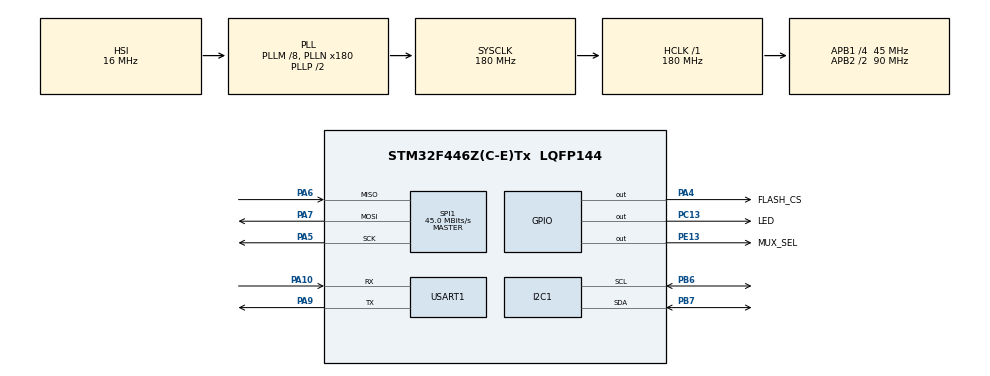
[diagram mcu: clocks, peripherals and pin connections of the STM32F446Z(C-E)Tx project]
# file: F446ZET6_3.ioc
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Mcu.Family=STM32F4
Mcu.Name=STM32F446Z(C-E)Tx
Mcu.Package=LQFP144
NVIC.PriorityGroup=NVIC_PRIORITYGROUP_4
PA10.Mode=Asynchronous
PA10.Signal=USART1_RX
PA13.Mode=Serial_Wire
PA13.Signal=SYS_JTMS-SWDIO
PA14.Mode=Serial_Wire
PA14.Signal=SYS_JTCK-SWCLK
PA4.GPIO_Label=FLASH_CS
PA4.Signal=GPIO_Output
PA5.Mode=Full_Duplex_Master
PA5.Signal=SPI1_SCK
PA6.Mode=Full_Duplex_Master
PA6.Signal=SPI1_MISO
PA7.Mode=Full_Duplex_Master
PA7.Signal=SPI1_MOSI
PA9.Mode=Asynchronous
PA9.Signal=USART1_TX
PB6.Mode=I2C
PB6.Signal=I2C1_SCL
PB7.Mode=I2C
PB7.Signal=I2C1_SDA
PC13.GPIO_Label=LED
PC13.Signal=GPIO_Output
PE13.GPIO_Label=MUX_SEL
PE13.Signal=GPIO_Output
ProjectManager.HeapSize=0x200
ProjectManager.StackSize=0x400
ProjectManager.TargetToolchain=STM32CubeIDE
RCC.AHBFreq_Value=180000000
RCC.APB1CLKDivider=RCC_HCLK_DIV4
RCC.APB1Freq_Value=45000000
RCC.APB1TimFreq_Value=90000000
RCC.APB2CLKDivider=RCC_HCLK_DIV2
RCC.APB2Freq_Value=90000000
RCC.APB2TimFreq_Value=180000000
RCC.CortexFreq_Value=180000000
RCC.HCLKFreq_Value=180000000
RCC.PLLM=8
RCC.PLLN=180
RCC.SYSCLKFreq_VALUE=180000000
RCC.SYSCLKSource=RCC_SYSCLKSOURCE_PLLCLK
RCC.USBFreq_Value=180000000
RCC.VCOOutputFreq_Value=360000000
SPI1.CalculateBaudRate=45.0 MBits/s
SPI1.Direction=SPI_DIRECTION_2LINES
SPI1.Mode=SPI_MODE_MASTER
SPI1.VirtualType=VM_MASTER
USART1.VirtualMode=VM_ASYNC
board=custom

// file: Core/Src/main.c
/* USER CODE BEGIN Header */
/**
  ******************************************************************************
  * @file           : main.c
  * @brief          : Main program body
  ******************************************************************************
  * @attention
  *
  * Copyright (c) 2023 STMicroelectronics.
  * All rights reserved.
  *
  * This software is licensed under terms that can be found in the LICENSE file
  * in the root directory of this software component.
  * If no LICENSE file comes with this software, it is provided AS-IS.
  *
  ******************************************************************************
  */
/* USER CODE END Header */
#include "main.h"

/* USER CODE BEGIN Includes */
#include <stdio.h>
#include "w25qxx.h"
#include <stdlib.h>
/* USER CODE END Includes */

I2C_HandleTypeDef hi2c1;

SPI_HandleTypeDef hspi1;

UART_HandleTypeDef huart1;

/* USER CODE BEGIN PV */
// SUBSYSTEM ADDRESS
const uint8_t ADDR_MAIN	= 90;
const uint8_t ADDR_RDT	= 92;
const uint8_t ADDR_TTC	= 94;
const uint8_t ADDR_EPS	= 96;

// PAYLOAD ADDRESS
const uint8_t ADDR_ADSB	= 98;
const uint8_t ADDR_LORA	= 100;
const uint8_t ADDR_AIS	= 102;

// HEADER
const uint8_t HEAD_MAIN	= 0x7D; // OBC to ALL
const uint8_t HEAD_RDT	= 0x7E; // RDT to OBC
const uint8_t HEAD_TTC	= 0x7F; // TTC to OBC
const uint8_t HEAD_EPS	= 0x80; // EPS to OBC
const uint8_t HEAD_ADSB	= 0x81; // ADSB to OBC
const uint8_t HEAD_LORA	= 0x82; // LORA to OBC
const uint8_t HEAD_AIS	= 0x83; // AIS to OBC

// BUFFER
uint8_t ADDR_I2C		=	0xFF;	// BUFFER to store Address to send
uint8_t I2C_RX_BUF[55]; // BUFFER to Receive Data from other Payloads/Boards
uint8_t I2C_TX_BUF[191]; // BUFFER to Transmit Command and Data to other Payloads/Boards
uint8_t NOR_BUF[186];
uint8_t RDT_STATE[1] = {0};
int RAND_NUM;

// Status
HAL_StatusTypeDef RES_TX_I2C;
HAL_StatusTypeDef RES_RX_I2C;

// Dummy
uint8_t dum1[186] =
{	0xE4, 0x54, 0xF2, 0x26, 0x76, 0xDB, 0x67, 0x67,
    0xBA, 0xC7, 0x17, 0xF6, 0xFD, 0xEE, 0x04, 0x7D,
    0x58, 0x8A, 0x34, 0xB9, 0x2A, 0x7F, 0x25, 0xB1,
    0xE3, 0x30, 0xFA, 0x83, 0xDF, 0x0A, 0x14, 0x23,
    0x2E, 0xBE, 0xF1, 0xE1, 0xC9, 0x06, 0x81, 0xF3,
    0x92, 0x0D, 0x27, 0x1F, 0x61, 0x72, 0xCA, 0x13,
    0x88, 0x5A, 0x29, 0x1B, 0x85, 0x75, 0x97, 0xE5,
    0xCF, 0x1E, 0x40, 0x70, 0x89, 0x12, 0x08, 0xA2,
    0x82, 0xB5, 0x05, 0xA5, 0x41, 0x01, 0xA8, 0x18,
    0x60, 0xBB, 0xEA, 0x49, 0xAA, 0xFB, 0xD9, 0x01,
    0x50, 0x4C, 0x4C, 0x9F, 0x65, 0x96, 0x55, 0xC2,
    0xCB, 0x68, 0xB3, 0xCF, 0x6E, 0xDC, 0x0F, 0x90,
    0xD9, 0xA9, 0x5C, 0xEA, 0xDD, 0x8F, 0xB0, 0x8A,
    0xEF, 0xF9, 0x95, 0x94, 0x5E, 0xCF, 0x91, 0xD1,
    0xA7, 0xBB, 0xEA, 0x44, 0x42, 0x97, 0x5A, 0x2A,
    0x5E, 0x1E, 0x83, 0x99, 0xF4, 0xC2, 0x57, 0x9C,
    0xDE, 0x7D, 0x73, 0x7F, 0x0F, 0x48, 0x47, 0x6E,
    0xC4, 0x9B, 0x08, 0x42, 0xC5, 0x12, 0x2D, 0x10,
    0x30, 0xEF, 0xC5, 0x14, 0xE1, 0x6C, 0x0B, 0x54,
    0xF3, 0x76, 0x98, 0x94, 0xAB, 0xD9, 0xFF, 0xAD,
    0x35, 0x27, 0x3A, 0xD4, 0x98, 0xB1, 0x5F, 0xB5,
    0x3D, 0xF1, 0x6C, 0xE2, 0x12, 0x43, 0x8B, 0xD4,
    0xA3, 0xE2, 0x1D, 0x0B, 0x71, 0x18, 0x9D, 0xC1,
    0xC3, 0xE7
};

uint8_t dum2[186] =
{	0x8C, 0x0E, 0xF9, 0x6B, 0xD3, 0xC6, 0xC0, 0xA9,
    0xEB, 0x85, 0xDE, 0xA2, 0xDE, 0x56, 0x04, 0x45,
    0x70, 0x1D, 0x82, 0x50, 0xEE, 0x83, 0x65, 0x51,
    0x2A, 0x99, 0x6E, 0x64, 0x8C, 0x7D, 0x32, 0xAC,
    0xB8, 0xC7, 0x67, 0x9D, 0x5F, 0x95, 0xAC, 0x00,
    0x82, 0x8E, 0x36, 0xBB, 0x50, 0x9E, 0x69, 0x77,
    0x99, 0x79, 0xC6, 0x28, 0x6E, 0xA4, 0x15, 0x75,
    0x49, 0x28, 0x4A, 0x64, 0x3E, 0x55, 0x18, 0x89,
    0xC3, 0x22, 0xE0, 0x8D, 0xF4, 0xE4, 0xAC, 0xC6,
    0xD0, 0x77, 0xD5, 0x3B, 0x84, 0x83, 0xD5, 0xA4,
    0xF2, 0xB5, 0x37, 0x7B, 0x1B, 0x24, 0xD9, 0x28,
    0x19, 0x27, 0x1F, 0x03, 0xDF, 0x87, 0xBE, 0x90,
    0x5C, 0x06, 0x2C, 0x36, 0xAB, 0xD7, 0x4A, 0x39,
    0xC3, 0x7B, 0xBF, 0x3A, 0x50, 0xC0, 0xE7, 0xEC,
    0xC2, 0x86, 0x23, 0xBB, 0x26, 0x27, 0xA8, 0x1A,
    0xC2, 0x27, 0xA7, 0x7A, 0x70, 0x36, 0x2A, 0xD6,
    0x1E, 0x2F, 0x25, 0x16, 0x65, 0xE4, 0xE1, 0xF0,
    0x8F, 0xB0, 0xED, 0xEC, 0xFF, 0x0F, 0x20, 0x3C,
    0xD0, 0xE6, 0x50, 0x65, 0xB7, 0xF9, 0x65, 0x8A,
    0x6C, 0x4F, 0x47, 0x24, 0xD8, 0x69, 0xA2, 0x31,
    0x38, 0x1A, 0xE5, 0x88, 0xED, 0x04, 0x03, 0x93,
    0xC8, 0xF9, 0xE0, 0x7D, 0x78, 0x49, 0x94, 0x6B,
    0x07, 0xEA, 0xC9, 0x54, 0x7A, 0x4E, 0xB5, 0x22,
    0x44, 0x96
};

uint8_t dum3[186] =
{	0x2A, 0x53, 0x40, 0x46, 0x88, 0x4D, 0x67, 0x53,
    0xF3, 0x5D, 0x07, 0x7A, 0x3C, 0xA6, 0xEF, 0x06,
    0xA4, 0xE2, 0x29, 0xC2, 0xDB, 0x05, 0x68, 0xDE,
    0x20, 0x4A, 0x91, 0x7D, 0x96, 0x3E, 0x60, 0xC4,
    0xAC, 0x35, 0xCD, 0x90, 0x12, 0x5E, 0x09, 0x43,
    0x99, 0x6C, 0xB2, 0xF8, 0x4A, 0x05, 0x81, 0x7E,
    0xE3, 0xE1, 0x1C, 0xCB, 0xBF, 0x88, 0x09, 0x5E,
    0x98, 0xD1, 0x38, 0x2E, 0x69, 0x90, 0x4B, 0x2F,
    0x2E, 0xF4, 0x31, 0xAB, 0x2F, 0xD8, 0x63, 0x64,
    0x16, 0xDF, 0x1F, 0xE1, 0x6D, 0x93, 0x7D, 0x67,
    0x66, 0x24, 0x07, 0xF1, 0x65, 0x5B, 0x13, 0x51,
    0x06, 0xA1, 0xC2, 0x7E, 0xBD, 0x0C, 0x35, 0x06,
    0xE0, 0xF7, 0x96, 0x2E, 0x79, 0x75, 0x7F, 0xB7,
    0x70, 0x4C, 0xB6, 0xB3, 0xE2, 0x62, 0xDF, 0x42,
    0x10, 0xDE, 0x8C, 0x4E, 0x1F, 0x2A, 0xD6, 0xE9,
    0xB1, 0xDC, 0x21, 0xDB, 0xA1, 0x18, 0xAE, 0x2F,
    0xBA, 0xCC, 0x2F, 0x98, 0x66, 0xA4, 0xBD, 0xDE,
    0xEB, 0xB9, 0x35, 0x08, 0xC8, 0x10, 0xD5, 0xF5,
    0xFC, 0x4D, 0x5F, 0x67, 0xC2, 0x25, 0x9E, 0x4A,
    0x75, 0xFC, 0xE9, 0x99, 0x0F, 0xCD, 0x16, 0xB6,
    0xD5, 0x9C, 0x21, 0x5C, 0x98, 0x74, 0xEE, 0x82,
    0xC3, 0x86, 0xD5, 0xEA, 0xC9, 0x7E, 0xE8, 0x21,
    0xD5, 0x7D, 0x87, 0x18, 0xFF, 0x84, 0x4B, 0xEA,
    0xC0, 0xDF
};

uint8_t dum4[186] =
{	0xB1, 0x92, 0x6B, 0x2C, 0x36, 0x09, 0x29, 0xE0,
    0x13, 0x23, 0x58, 0xFA, 0xF3, 0x3A, 0x25, 0x87,
    0xCD, 0x9D, 0x92, 0x73, 0xDE, 0x07, 0x80, 0xFF,
    0x9D, 0x90, 0x6E, 0x34, 0x18, 0xC6, 0x5A, 0xFC,
    0xE5, 0x9E, 0xE4, 0xAE, 0xF8, 0xC7, 0xE6, 0x71,
    0xD6, 0xBE, 0xCC, 0x2E, 0x74, 0x13, 0x84, 0x0F,
    0x13, 0xC9, 0x55, 0xBC, 0xF3, 0x89, 0xFD, 0x54,
    0xCB, 0x4F, 0xA2, 0xBB, 0x74, 0xEE, 0xE4, 0x85,
    0xA0, 0x78, 0x49, 0x5E, 0xAC, 0xC1, 0xA8, 0x3F,
    0x64, 0xFD, 0x30, 0x9D, 0x70, 0x44, 0xB8, 0x5C,
    0x7D, 0x81, 0xF0, 0x35, 0xA2, 0x91, 0x3B, 0x7C,
    0xB3, 0x3C, 0xD8, 0xD5, 0x89, 0x2E, 0x3B, 0x25,
    0xA3, 0x74, 0x18, 0xCF, 0xF2, 0x59, 0xF0, 0xC9,
    0x9D, 0xBF, 0xE0, 0xB6, 0x3E, 0x7B, 0x77, 0x17,
    0xA9, 0x7B, 0xD9, 0x5E, 0x39, 0xBF, 0xA7, 0x2E,
    0xE0, 0x78, 0x1E, 0x7B, 0x9F, 0xB0, 0x74, 0xE2,
    0x04, 0xB7, 0x18, 0xC8, 0x1C, 0xAB, 0x03, 0x39,
    0x0E, 0x99, 0x55, 0x56, 0x1A, 0x56, 0x8A, 0xFC,
    0x9C, 0x10, 0x35, 0x32, 0x50, 0x57, 0x7A, 0x43,
    0x0A, 0xDF, 0xDA, 0x3E, 0x62, 0x4A, 0xEA, 0x47,
    0xF4, 0xAA, 0xBB, 0x31, 0x00, 0xB1, 0xCA, 0x79,
    0x5F, 0xEA, 0x7D, 0x66, 0x90, 0xA4, 0x7E, 0x22,
    0x48, 0xEF, 0xB8, 0xC9, 0xC9, 0x45, 0x11, 0xB6,
    0xC3, 0x9F
};

uint8_t dum5[186] =
{	0x18, 0x98, 0xAF, 0x64, 0x1E, 0xBE, 0xEF, 0xEF,
    0xA1, 0x3A, 0xF2, 0x98, 0x35, 0xA2, 0x7F, 0xF2,
    0xDB, 0x99, 0xEC, 0x22, 0x4F, 0x5D, 0x32, 0x75,
    0x77, 0x6F, 0xE5, 0xDA, 0x9E, 0x41, 0x8F, 0xC0,
    0x71, 0x34, 0x12, 0xB4, 0xF4, 0x3B, 0xAE, 0x07,
    0xA1, 0xA2, 0x71, 0x69, 0x83, 0xCE, 0xAF, 0x51,
    0x46, 0x38, 0xA5, 0x97, 0x43, 0x8D, 0x01, 0x2F,
    0x4F, 0xBB, 0xBA, 0xB0, 0x97, 0x93, 0xA8, 0x0B,
    0xA8, 0xFD, 0x7E, 0xCE, 0x44, 0xC9, 0xBE, 0x2B,
    0x6F, 0x17, 0x5A, 0xF3, 0x37, 0xE8, 0x50, 0xF9,
    0xD8, 0x5F, 0x0F, 0x84, 0x08, 0x1B, 0x01, 0x5D,
    0x3C, 0x8F, 0xF3, 0x0B, 0x71, 0xCC, 0x11, 0x8B,
    0xB4, 0x0C, 0x9D, 0x55, 0xDD, 0xE5, 0x78, 0x8E,
    0x09, 0xFC, 0xEE, 0xC0, 0x91, 0x5D, 0x53, 0x80,
    0x72, 0x0A, 0xF4, 0xE4, 0xEA, 0xF3, 0x49, 0x06,
    0x61, 0xEB, 0x54, 0xC5, 0x67, 0x3D, 0x23, 0x6D,
    0x33, 0xE2, 0xFB, 0x73, 0x97, 0x38, 0x59, 0x4F,
    0xEB, 0xA2, 0xA4, 0x74, 0xE8, 0xFB, 0x84, 0x2E,
    0xD3, 0x33, 0x65, 0x23, 0xF7, 0x93, 0x67, 0x97,
    0x84, 0xC4, 0xB3, 0x95, 0x93, 0x2F, 0x6B, 0x95,
    0x65, 0xC7, 0xD4, 0x17, 0x6C, 0x92, 0x09, 0x66,
    0x27, 0xB1, 0x30, 0xF0, 0x48, 0x56, 0xD0, 0x47,
    0xCA, 0x41, 0x51, 0x43, 0x2F, 0xD4, 0x28, 0x3A,
    0xE3, 0x90
};
/* USER CODE END PV */

void SystemClock_Config(void);
static void MX_GPIO_Init(void);
static void MX_I2C1_Init(void);
static void MX_USART1_UART_Init(void);
static void MX_SPI1_Init(void);
/* USER CODE BEGIN PFP */
#ifdef __GNUC__
#define PUTCHAR_PROTOTYPE int __io_putchar(int ch)
#else
#define PUTCHAR_PROTOTYPE int fputc(int ch, FILE *f)
#endif

PUTCHAR_PROTOTYPE
{
  HAL_UART_Transmit(&huart1, (uint8_t *)&ch, 1, HAL_MAX_DELAY);
  return ch;
}

void ParseCMD();
void Clr_I2C_TX_BUF();
void Clr_I2C_RX_BUF();
void Clr_I2C_ADDR();
void Clr_NOR_BUF();
/* USER CODE END PFP */

int main(void)
{
  /* USER CODE BEGIN 1 */
	Clr_I2C_RX_BUF();
	Clr_I2C_TX_BUF();
	Clr_NOR_BUF();
  /* USER CODE END 1 */

  /* MCU Configuration--------------------------------------------------------*/

  /* Reset of all peripherals, Initializes the Flash interface and the Systick. */
  HAL_Init();

  /* Configure the system clock */
  SystemClock_Config();

  /* Initialize all configured peripherals */
  MX_GPIO_Init();
  MX_I2C1_Init();
  MX_USART1_UART_Init();
  MX_SPI1_Init();
  /* USER CODE BEGIN 2 */
  W25qxx_Init();
  W25qxx_WritePage(dum1, 0, 0, 186);
  W25qxx_WritePage(dum2, 1, 0, 186);
  W25qxx_WritePage(dum3, 2, 0, 186);
  W25qxx_WritePage(dum4, 3, 0, 186);
  W25qxx_WritePage(dum5, 4, 0, 186);

  HAL_GPIO_WritePin(LED_GPIO_Port, LED_Pin, GPIO_PIN_RESET);
  /* USER CODE END 2 */

  /* Infinite loop */
  while (1)
  {

    /* USER CODE BEGIN 3 */
	  if(RDT_STATE[0] == 0){
		  	  if(HAL_I2C_Master_Receive(&hi2c1, ADDR_TTC<<1, I2C_RX_BUF, 55, HAL_MAX_DELAY) == HAL_OK){
		  		  if(I2C_RX_BUF[5] == 0xE3){
		  			  RDT_STATE[0] = 1;
		  		  }
		  		  if(I2C_RX_BUF[4] == 1){
		  			  ParseCMD();

		  			  if(HAL_I2C_Master_Transmit(&hi2c1, ADDR_TTC<<1, I2C_TX_BUF, 191, HAL_MAX_DELAY) == HAL_OK){}
		  			  Clr_I2C_TX_BUF();
		  		  }
		  	  }
		  	  Clr_I2C_RX_BUF();
		  	  if(RDT_STATE[0] == 0){
		  		  HAL_NVIC_SystemReset();
		  	  }else{
		  		if(HAL_UART_Transmit(&huart1, RDT_STATE, 1, HAL_MAX_DELAY) == HAL_OK){
		  			HAL_GPIO_WritePin(MUX_SEL_GPIO_Port, MUX_SEL_Pin, GPIO_PIN_SET);
		  			HAL_GPIO_WritePin(LED_GPIO_Port, LED_Pin, GPIO_PIN_SET);
		  			HAL_SuspendTick();
		  			HAL_PWR_EnterSLEEPMode(PWR_MAINREGULATOR_ON, PWR_SLEEPENTRY_WFI);
		  		}
		  	  }
	  } else{
		  if(HAL_UART_Transmit(&huart1, RDT_STATE, 1, HAL_MAX_DELAY) == HAL_OK){
			  HAL_GPIO_WritePin(MUX_SEL_GPIO_Port, MUX_SEL_Pin, GPIO_PIN_SET);
			  HAL_GPIO_WritePin(LED_GPIO_Port, LED_Pin, GPIO_PIN_SET);
			  HAL_SuspendTick();
			  HAL_PWR_EnterSLEEPMode(PWR_MAINREGULATOR_ON, PWR_SLEEPENTRY_WFI);
		  }
	  }

  }
  /* USER CODE END 3 */
}

void SystemClock_Config(void)
{
  RCC_OscInitTypeDef RCC_OscInitStruct = {0};
  RCC_ClkInitTypeDef RCC_ClkInitStruct = {0};

  /** Configure the main internal regulator output voltage
  */
  __HAL_RCC_PWR_CLK_ENABLE();
  __HAL_PWR_VOLTAGESCALING_CONFIG(PWR_REGULATOR_VOLTAGE_SCALE1);

  /** Initializes the RCC Oscillators according to the specified parameters
  * in the RCC_OscInitTypeDef structure.
  */
  RCC_OscInitStruct.OscillatorType = RCC_OSCILLATORTYPE_HSI;
  RCC_OscInitStruct.HSIState = RCC_HSI_ON;
  RCC_OscInitStruct.HSICalibrationValue = RCC_HSICALIBRATION_DEFAULT;
  RCC_OscInitStruct.PLL.PLLState = RCC_PLL_ON;
  RCC_OscInitStruct.PLL.PLLSource = RCC_PLLSOURCE_HSI;
  RCC_OscInitStruct.PLL.PLLM = 8;
  RCC_OscInitStruct.PLL.PLLN = 180;
  RCC_OscInitStruct.PLL.PLLP = RCC_PLLP_DIV2;
  RCC_OscInitStruct.PLL.PLLQ = 2;
  RCC_OscInitStruct.PLL.PLLR = 2;
  if (HAL_RCC_OscConfig(&RCC_OscInitStruct) != HAL_OK)
  {
    Error_Handler();
  }

  /** Activate the Over-Drive mode
  */
  if (HAL_PWREx_EnableOverDrive() != HAL_OK)
  {
    Error_Handler();
  }

  /** Initializes the CPU, AHB and APB buses clocks
  */
  RCC_ClkInitStruct.ClockType = RCC_CLOCKTYPE_HCLK|RCC_CLOCKTYPE_SYSCLK
                              |RCC_CLOCKTYPE_PCLK1|RCC_CLOCKTYPE_PCLK2;
  RCC_ClkInitStruct.SYSCLKSource = RCC_SYSCLKSOURCE_PLLCLK;
  RCC_ClkInitStruct.AHBCLKDivider = RCC_SYSCLK_DIV1;
  RCC_ClkInitStruct.APB1CLKDivider = RCC_HCLK_DIV4;
  RCC_ClkInitStruct.APB2CLKDivider = RCC_HCLK_DIV2;

  if (HAL_RCC_ClockConfig(&RCC_ClkInitStruct, FLASH_LATENCY_5) != HAL_OK)
  {
    Error_Handler();
  }
}

static void MX_I2C1_Init(void)
{

  hi2c1.Instance = I2C1;
  hi2c1.Init.ClockSpeed = 100000;
  hi2c1.Init.DutyCycle = I2C_DUTYCYCLE_2;
  hi2c1.Init.OwnAddress1 = ADDR_MAIN;
  hi2c1.Init.AddressingMode = I2C_ADDRESSINGMODE_7BIT;
  hi2c1.Init.DualAddressMode = I2C_DUALADDRESS_DISABLE;
  hi2c1.Init.OwnAddress2 = 0;
  hi2c1.Init.GeneralCallMode = I2C_GENERALCALL_DISABLE;
  hi2c1.Init.NoStretchMode = I2C_NOSTRETCH_DISABLE;
  if (HAL_I2C_Init(&hi2c1) != HAL_OK)
  {
    Error_Handler();
  }

}

static void MX_SPI1_Init(void)
{

  /* SPI1 parameter configuration*/
  hspi1.Instance = SPI1;
  hspi1.Init.Mode = SPI_MODE_MASTER;
  hspi1.Init.Direction = SPI_DIRECTION_2LINES;
  hspi1.Init.DataSize = SPI_DATASIZE_8BIT;
  hspi1.Init.CLKPolarity = SPI_POLARITY_LOW;
  hspi1.Init.CLKPhase = SPI_PHASE_1EDGE;
  hspi1.Init.NSS = SPI_NSS_SOFT;
  hspi1.Init.BaudRatePrescaler = SPI_BAUDRATEPRESCALER_2;
  hspi1.Init.FirstBit = SPI_FIRSTBIT_MSB;
  hspi1.Init.TIMode = SPI_TIMODE_DISABLE;
  hspi1.Init.CRCCalculation = SPI_CRCCALCULATION_DISABLE;
  hspi1.Init.CRCPolynomial = 10;
  if (HAL_SPI_Init(&hspi1) != HAL_OK)
  {
    Error_Handler();
  }

}

static void MX_USART1_UART_Init(void)
{

  huart1.Instance = USART1;
  huart1.Init.BaudRate = 115200;
  huart1.Init.WordLength = UART_WORDLENGTH_8B;
  huart1.Init.StopBits = UART_STOPBITS_1;
  huart1.Init.Parity = UART_PARITY_NONE;
  huart1.Init.Mode = UART_MODE_TX_RX;
  huart1.Init.HwFlowCtl = UART_HWCONTROL_NONE;
  huart1.Init.OverSampling = UART_OVERSAMPLING_16;
  if (HAL_UART_Init(&huart1) != HAL_OK)
  {
    Error_Handler();
  }

}

static void MX_GPIO_Init(void)
{
  GPIO_InitTypeDef GPIO_InitStruct = {0};

  /* GPIO Ports Clock Enable */
  __HAL_RCC_GPIOC_CLK_ENABLE();
  __HAL_RCC_GPIOA_CLK_ENABLE();
  __HAL_RCC_GPIOE_CLK_ENABLE();
  __HAL_RCC_GPIOB_CLK_ENABLE();

  /*Configure GPIO pin Output Level */
  HAL_GPIO_WritePin(LED_GPIO_Port, LED_Pin, GPIO_PIN_RESET);

  /*Configure GPIO pin Output Level */
  HAL_GPIO_WritePin(FLASH_CS_GPIO_Port, FLASH_CS_Pin, GPIO_PIN_RESET);

  /*Configure GPIO pin Output Level */
  HAL_GPIO_WritePin(MUX_SEL_GPIO_Port, MUX_SEL_Pin, GPIO_PIN_RESET);

  /*Configure GPIO pin : LED_Pin */
  GPIO_InitStruct.Pin = LED_Pin;
  GPIO_InitStruct.Mode = GPIO_MODE_OUTPUT_PP;
  GPIO_InitStruct.Pull = GPIO_NOPULL;
  GPIO_InitStruct.Speed = GPIO_SPEED_FREQ_LOW;
  HAL_GPIO_Init(LED_GPIO_Port, &GPIO_InitStruct);

  /*Configure GPIO pin : FLASH_CS_Pin */
  GPIO_InitStruct.Pin = FLASH_CS_Pin;
  GPIO_InitStruct.Mode = GPIO_MODE_OUTPUT_PP;
  GPIO_InitStruct.Pull = GPIO_NOPULL;
  GPIO_InitStruct.Speed = GPIO_SPEED_FREQ_LOW;
  HAL_GPIO_Init(FLASH_CS_GPIO_Port, &GPIO_InitStruct);

  /*Configure GPIO pin : MUX_SEL_Pin */
  GPIO_InitStruct.Pin = MUX_SEL_Pin;
  GPIO_InitStruct.Mode = GPIO_MODE_OUTPUT_PP;
  GPIO_InitStruct.Pull = GPIO_NOPULL;
  GPIO_InitStruct.Speed = GPIO_SPEED_FREQ_LOW;
  HAL_GPIO_Init(MUX_SEL_GPIO_Port, &GPIO_InitStruct);

}

/* USER CODE BEGIN 4 */
void ParseCMD(){
	I2C_TX_BUF[0] = HEAD_MAIN;

	if(I2C_RX_BUF[5] == 0x80){
		ADDR_I2C = ADDR_EPS;
		if(I2C_RX_BUF[6] == 1){
			switch(I2C_RX_BUF[7]){
				case 1	:	I2C_TX_BUF[1] = 1;
							I2C_TX_BUF[2] = 1;
							I2C_TX_BUF[3] = 0;
							I2C_TX_BUF[4] = 1;
							break;

				case 2	:	I2C_TX_BUF[1] = 1;
							I2C_TX_BUF[2] = 2;
							I2C_TX_BUF[3] = 0;
							I2C_TX_BUF[4] = 1;
							break;

				case 3	:	I2C_TX_BUF[1] = 1;
							I2C_TX_BUF[2] = 3;
							I2C_TX_BUF[3] = 0;
							I2C_TX_BUF[4] = 1;
							break;

				case 4	:	I2C_TX_BUF[1] = 1;
							I2C_TX_BUF[2] = 4;
							I2C_TX_BUF[3] = 0;
							I2C_TX_BUF[4] = 1;
							break;
			}
		}
		else if(I2C_RX_BUF[6] == 2){
			switch(I2C_RX_BUF[7]){
				case 1	:	I2C_TX_BUF[1] = 2;
							I2C_TX_BUF[2] = 1;
							I2C_TX_BUF[3] = 0;
							I2C_TX_BUF[4] = 0;
							srand(I2C_RX_BUF[7]);
							RAND_NUM = rand() % 5;
							W25qxx_ReadPage(NOR_BUF, RAND_NUM, 0, 186);
							I2C_TX_BUF[5] = NOR_BUF[16];
							I2C_TX_BUF[6] = NOR_BUF[17];
							I2C_TX_BUF[7] = NOR_BUF[18];
							I2C_TX_BUF[8] = NOR_BUF[19];
							break;

				case 2	:	I2C_TX_BUF[1] = 2;
							I2C_TX_BUF[2] = 2;
							I2C_TX_BUF[3] = 0;
							I2C_TX_BUF[4] = 0;
							srand(I2C_RX_BUF[7]);
							RAND_NUM = rand() % 5;
							W25qxx_ReadPage(NOR_BUF, RAND_NUM, 0, 186);
							I2C_TX_BUF[5] = NOR_BUF[20];
							I2C_TX_BUF[6] = NOR_BUF[21];
							I2C_TX_BUF[7] = NOR_BUF[22];
							I2C_TX_BUF[8] = NOR_BUF[23];
							break;

				case 3	:	I2C_TX_BUF[1] = 2;
							I2C_TX_BUF[2] = 3;
							I2C_TX_BUF[3] = 0;
							I2C_TX_BUF[4] = 0;
							srand(I2C_RX_BUF[7]);
							RAND_NUM = rand() % 5;
							W25qxx_ReadPage(NOR_BUF, RAND_NUM, 0, 186);
							I2C_TX_BUF[5] = NOR_BUF[24];
							I2C_TX_BUF[6] = NOR_BUF[25];
							I2C_TX_BUF[7] = NOR_BUF[26];
							I2C_TX_BUF[8] = NOR_BUF[27];
							break;

				case 4	:	I2C_TX_BUF[1] = 2;
							I2C_TX_BUF[2] = 4;
							I2C_TX_BUF[3] = 0;
							I2C_TX_BUF[4] = 0;
							srand(I2C_RX_BUF[7]);
							RAND_NUM = rand() % 5;
							W25qxx_ReadPage(NOR_BUF, RAND_NUM, 0, 186);
							I2C_TX_BUF[5] = NOR_BUF[28];
							I2C_TX_BUF[6] = NOR_BUF[29];
							I2C_TX_BUF[7] = NOR_BUF[30];
							I2C_TX_BUF[8] = NOR_BUF[31];
							break;

				case 5	:	I2C_TX_BUF[1] = 2;
							I2C_TX_BUF[2] = 5;
							I2C_TX_BUF[3] = 0;
							I2C_TX_BUF[4] = 0;
							srand(I2C_RX_BUF[7]);
							RAND_NUM = rand() % 5;
							W25qxx_ReadPage(NOR_BUF, RAND_NUM, 0, 186);
							I2C_TX_BUF[5] = NOR_BUF[32];
							I2C_TX_BUF[6] = NOR_BUF[33];
							I2C_TX_BUF[7] = NOR_BUF[34];
							I2C_TX_BUF[8] = NOR_BUF[35];
							break;

				case 6	:	I2C_TX_BUF[1] = 2;
							I2C_TX_BUF[2] = 6;
							I2C_TX_BUF[3] = 0;
							I2C_TX_BUF[4] = 0;
							srand(I2C_RX_BUF[7]);
							RAND_NUM = rand() % 5;
							W25qxx_ReadPage(NOR_BUF, RAND_NUM, 0, 186);
							I2C_TX_BUF[5] = NOR_BUF[8];
							I2C_TX_BUF[6] = NOR_BUF[9];
							I2C_TX_BUF[7] = NOR_BUF[10];
							I2C_TX_BUF[8] = NOR_BUF[11];
							break;

				case 7	:	I2C_TX_BUF[1] = 2;
							I2C_TX_BUF[2] = 7;
							I2C_TX_BUF[3] = 0;
							I2C_TX_BUF[4] = 0;
							srand(I2C_RX_BUF[7]);
							RAND_NUM = rand() % 5;
							W25qxx_ReadPage(NOR_BUF, RAND_NUM, 0, 186);
							I2C_TX_BUF[5] = NOR_BUF[12];
							I2C_TX_BUF[6] = NOR_BUF[13];
							I2C_TX_BUF[7] = NOR_BUF[14];
							I2C_TX_BUF[8] = NOR_BUF[15];
							break;
			}
		}
	}

	else if(I2C_RX_BUF[5] == 0x7F){
		ADDR_I2C = ADDR_TTC<<1;

		if(I2C_RX_BUF[6] == 3){
			switch(I2C_RX_BUF[7]){
				case 1	:	I2C_TX_BUF[1] = 2;
							I2C_TX_BUF[2] = 1;
							I2C_TX_BUF[3] = 0;
							I2C_TX_BUF[4] = 0;
							srand(I2C_RX_BUF[7]);
							RAND_NUM = rand() % 5;
							W25qxx_ReadPage(NOR_BUF, RAND_NUM, 0, 186);
							for(int i=0; i<186; i++){
								I2C_TX_BUF[i+5] = NOR_BUF[i];
							}
							break;
			}
		}
		else if(I2C_RX_BUF[6] == 4){
			switch(I2C_RX_BUF[7]){
				case 1	:	I2C_TX_BUF[1] = 2;
							I2C_TX_BUF[2] = 1;
							I2C_TX_BUF[3] = 0;
							I2C_TX_BUF[4] = 0;
							srand(I2C_RX_BUF[7]);
							RAND_NUM = rand() % 5;
							W25qxx_ReadPage(NOR_BUF, RAND_NUM, 0, 186);
							I2C_TX_BUF[5] = NOR_BUF[4];
							I2C_TX_BUF[6] = NOR_BUF[5];
							I2C_TX_BUF[7] = NOR_BUF[6];
							I2C_TX_BUF[8] = NOR_BUF[7];
							break;
			}
		}
	}

	else if(I2C_RX_BUF[5] == 0x7E){
		ADDR_I2C = ADDR_RDT;

		if(I2C_RX_BUF[6] == 5){
			switch(I2C_RX_BUF[7]){
				case 1 :	I2C_TX_BUF[1] = 1;
							I2C_TX_BUF[2] = 1;
							I2C_TX_BUF[3] = 0;
							I2C_TX_BUF[4] = 0;
							break;
			}
		}
	}

	else if(I2C_RX_BUF[5] == 0x81){
		ADDR_I2C = ADDR_ADSB;

		if(I2C_RX_BUF[6] == 6){
			switch(I2C_RX_BUF[7]){
				case 1 :	I2C_TX_BUF[1] = 1;
							I2C_TX_BUF[2] = 1;
							I2C_TX_BUF[3] = 0;
							I2C_TX_BUF[4] = 1;
							break;

				case 2 :	I2C_TX_BUF[1] = 1;
							I2C_TX_BUF[2] = 2;
							I2C_TX_BUF[3] = 0;
							I2C_TX_BUF[4] = 0;
							srand(I2C_RX_BUF[7]);
							RAND_NUM = rand() % 5;
							W25qxx_ReadPage(NOR_BUF, RAND_NUM, 0, 186);
							for(int i=0; i<46; i++){
								I2C_TX_BUF[i+5] = NOR_BUF[i+40];
							}
							break;
			}
		}
		else if(I2C_RX_BUF[6] == 7){
			switch(I2C_RX_BUF[7]){
			case 1 :	I2C_TX_BUF[1] = 2;
						I2C_TX_BUF[2] = 1;
						I2C_TX_BUF[3] = 0;
						I2C_TX_BUF[4] = 0;
						srand(I2C_RX_BUF[7]);
						RAND_NUM = rand() % 5;
						W25qxx_ReadPage(NOR_BUF, RAND_NUM, 0, 186);
						I2C_TX_BUF[5] = NOR_BUF[32];
						I2C_TX_BUF[6] = NOR_BUF[33];
						I2C_TX_BUF[7] = NOR_BUF[34];
						I2C_TX_BUF[8] = NOR_BUF[35];
						break;
			}
		}
	}
}

void Clr_I2C_TX_BUF(){
	for(int i=0; i<sizeof(I2C_TX_BUF); i++){
		I2C_TX_BUF[i] = 0xFF;
	}
}

void Clr_I2C_RX_BUF(){
	for(int i=0; i<sizeof(I2C_RX_BUF); i++){
		I2C_RX_BUF[i] = 0xFF;
	}
}

void Clr_I2C_ADDR(){
	ADDR_I2C = 0xFF;
}

void Clr_NOR_BUF(){
	for(int i=0; i<sizeof(NOR_BUF); i++){
		NOR_BUF[i] = 0xFF;
	}
}
/* USER CODE END 4 */

void Error_Handler(void)
{
  __disable_irq();
  while (1)
  {
  }
}
